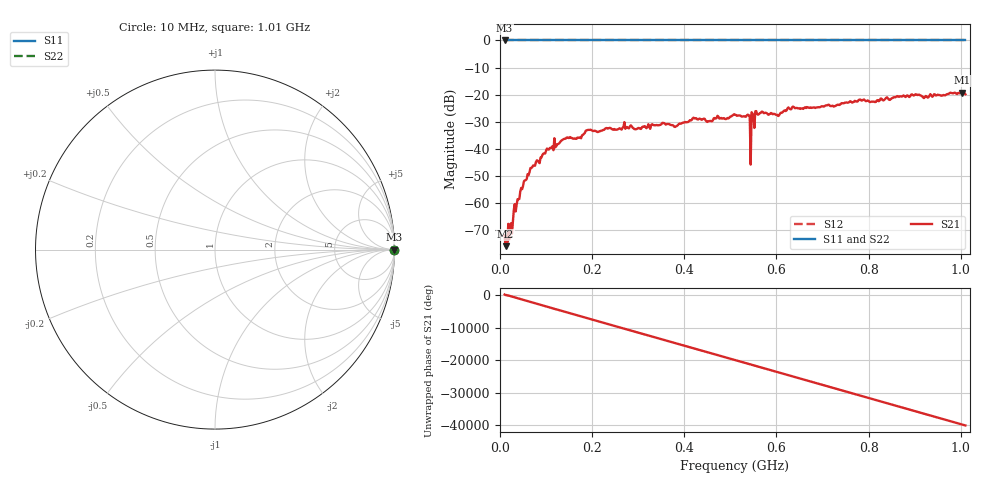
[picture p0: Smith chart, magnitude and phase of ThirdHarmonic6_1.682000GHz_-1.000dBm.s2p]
! 8/16/2025 8:11:27 PM
! C:\ANRITSUVNA\TEMP\TEMP.S2P
! CHANNEL.1
! TR.MEASUREMENT
! RAW.DATA
! RF.CORRECTION.OFF
! AVERAGING.OFF
! IF.BANDWIDTH: 5KHZ
! SWEEPTYPE:  FREQ.SWEEP(Linear)
! Reference Plane Port Info
! PORT:  PORT1  PORT2
! DISTANCE:  0  m  0  m
! TIME:  0  s  0  s
! PHASE.OFFSET:  0  deg.  0  deg.
! LOSS:  0  dB  0  dB
! REF.LOSS:  0  dB  0  dB
! REF.FREQ:  0  Hz  0  Hz
! Power Info
! POWER:  -20  dBm  -20  dBm
! EFF.POWER:  -20  dBm  -20  dBm
! SOURCE.ATTEN:  0  dB  0  dB
! TEST.ATTEN:  0  dB  0  dB
# GHZ S RI R 50.0
! FREQ.GHZ  S11RE  S11IM  S21RE  S21IM  S12RE  S12IM  S22RE  S22IM
!; PortSelection: Port_12
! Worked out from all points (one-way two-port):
!   501 points, 10 MHz to 1.01 GHz, reference 50 ohm
!   highest |S21| = -19.23 dB at 1.002 GHz (marker M1); lowest = -76.0 dB at 12 MHz (marker M2)
!   lowest |S11| = 0.0 dB at 10 MHz (marker M3)
!   |S11| at or under -10 dB: nowhere
!   |S22| runs from 0.0 to 0.0 dB; largest |S21 - S12| = 1.1
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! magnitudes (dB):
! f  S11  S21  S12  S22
! 10 MHz  0.0  -71.9  0.0  0.0
! 12 MHz  0.0  -76.0  0.0  0.0
! 24 MHz  0.0  -67.5  0.0  0.0
! 34 MHz  0.0  -63.1  0.0  0.0
! 48 MHz  0.0  -54.9  0.0  0.0
! 70 MHz  0.0  -46.8  0.0  0.0
! 114 MHz  0.0  -39.0  0.0  0.0
! 178 MHz  0.0  -35.0  0.0  0.0
! 192 MHz  0.0  -33.0  0.0  0.0
! 344 MHz  0.0  -31.3  0.0  0.0
! 510 MHz  0.0  -27.4  0.0  0.0
! 538 MHz  0.0  -27.4  0.0  0.0
! 540 MHz  0.0  -27.7  0.0  0.0
! 548 MHz  0.0  -27.0  0.0  0.0
! 550 MHz  0.0  -27.7  0.0  0.0
! 558 MHz  0.0  -27.1  0.0  0.0
! 602 MHz  0.0  -27.5  0.0  0.0
! 638 MHz  0.0  -24.7  0.0  0.0
! 678 MHz  0.0  -24.8  0.0  0.0
! 844 MHz  0.0  -21.9  0.0  0.0
! 1.002 GHz  0.0  -19.2  0.0  0.0
! 1.01 GHz  0.0  -19.9  0.0  0.0
